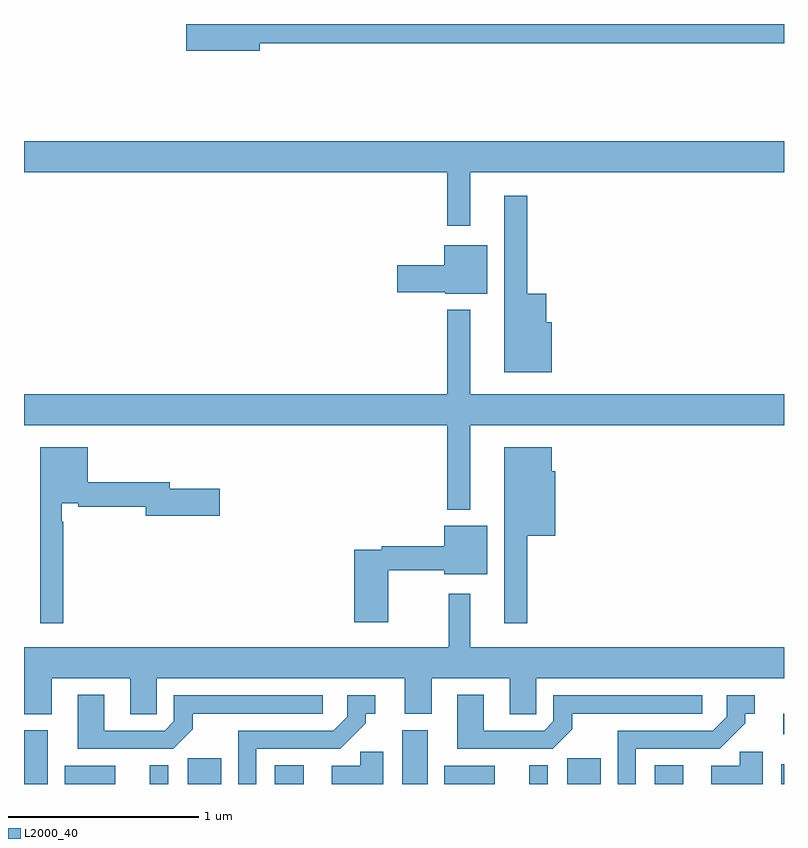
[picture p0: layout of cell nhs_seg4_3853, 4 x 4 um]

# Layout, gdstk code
import gdstk
lib = gdstk.Library(unit=1e-6, precision=1e-09)
def R(c, l, rs):  # rectangles x0, y0, x1, y1
    for r in rs: c.add(gdstk.rectangle(r[:2], r[2:], *l))
def P(c, l, *ps):  # polygons
    for p in ps: c.add(gdstk.Polygon(p, *l))
L2000_40 = (2000, 40)

nhs_seg4_3853 = lib.new_cell('nhs_seg4_3853')
R(nhs_seg4_3853, L2000_40, [(313,826.9,313.126,827.182), (313.214,826.9,313.48,826.996), (313.661,826.9,313.758,827), (313.862,826.9,314.038,827.036), (314.321,826.9,314.473,827), (314.99,826.9,315.124,827.184), (315.212,826.9,315.478,826.996), (315.659,826.9,315.756,827), (315.86,826.9,316.036,827.036), (316.319,826.9,316.471,827), (316.985,826.9,317,827.005), (316.995,827.162,317,827.27)])
P(nhs_seg4_3853, L2000_40, [(314.242,830.8),(317,830.8),(317,830.9),(313.854,830.9),(313.854,830.758),(314.242,830.758)],
  [(315.349,830.12),(317,830.12),(317,830.284),(313,830.284),(313,830.12),(315.228,830.12),(315.228,829.839),(315.349,829.839)],
  [(315.778,829.33),(315.748,829.33),(315.748,829.48),(315.649,829.48),(315.649,829.996),(315.527,829.996),(315.527,829.067),(315.778,829.067)],
  [(315.439,829.735),(315.212,829.735),(315.212,829.629),(314.964,829.629),(314.964,829.487),(315.216,829.487),(315.216,829.481),(315.439,829.481)],
  [(315.349,828.788),(317,828.788),(317,828.952),(315.349,828.952),(315.349,829.396),(315.228,829.396),(315.228,828.952),(313,828.952),(313,828.788),(315.228,828.788),(315.228,828.344),(315.349,828.344)],
  [(315.649,828.206),(315.796,828.206),(315.796,828.546),(315.778,828.546),(315.778,828.673),(315.527,828.673),(315.527,827.745),(315.649,827.745)],
  [(313.207,828.281),(313.199,828.281),(313.199,828.378),(313.285,828.378),(313.285,828.358),(313.64,828.358),(313.64,828.311),(314.029,828.311),(314.029,828.453),(313.768,828.453),(313.768,828.487),(313.336,828.487),(313.336,828.673),(313.085,828.673),(313.085,827.745),(313.207,827.745)],
  [(314.916,828.024),(315.212,828.024),(315.212,828.005),(315.439,828.005),(315.439,828.259),(315.212,828.259),(315.212,828.152),(314.884,828.152),(314.884,828.132),(314.738,828.132),(314.738,827.751),(314.916,827.751)],
  [(313.698,827.456),(315.005,827.456),(315.005,827.269),(315.145,827.269),(315.145,827.456),(315.557,827.456),(315.557,827.266),(315.696,827.266),(315.696,827.456),(317,827.456),(317,827.62),(315.349,827.62),(315.349,827.902),(315.235,827.902),(315.235,827.62),(313,827.62),(313,827.267),(313.147,827.267),(313.147,827.456),(313.559,827.456),(313.559,827.266),(313.698,827.266)],
  [(315.885,827.187),(315.885,827.271),(316.57,827.271),(316.57,827.367),(315.786,827.367),(315.786,827.229),(315.738,827.181),(315.421,827.181),(315.421,827.371),(315.281,827.371),(315.281,827.085),(315.783,827.085)],
  [(313.887,827.187),(313.887,827.271),(314.572,827.271),(314.572,827.367),(313.788,827.367),(313.788,827.229),(313.74,827.181),(313.423,827.181),(313.423,827.371),(313.283,827.371),(313.283,827.085),(313.785,827.085)],
  [(316.221,827.085),(316.662,827.085),(316.796,827.219),(316.796,827.27),(316.846,827.27),(316.846,827.367),(316.698,827.367),(316.698,827.253),(316.626,827.181),(316.125,827.181),(316.125,826.9),(316.221,826.9)],
  [(314.223,827.085),(314.664,827.085),(314.798,827.219),(314.798,827.27),(314.848,827.27),(314.848,827.367),(314.7,827.367),(314.7,827.253),(314.628,827.181),(314.127,827.181),(314.127,826.9),(314.223,826.9)],
  [(316.888,827.069),(316.768,827.069),(316.768,826.996),(316.617,826.996),(316.617,826.9),(316.888,826.9)],
  [(314.89,827.069),(314.77,827.069),(314.77,826.996),(314.619,826.996),(314.619,826.9),(314.89,826.9)])

lib.write_gds('nhs_seg4_3853.gds')
